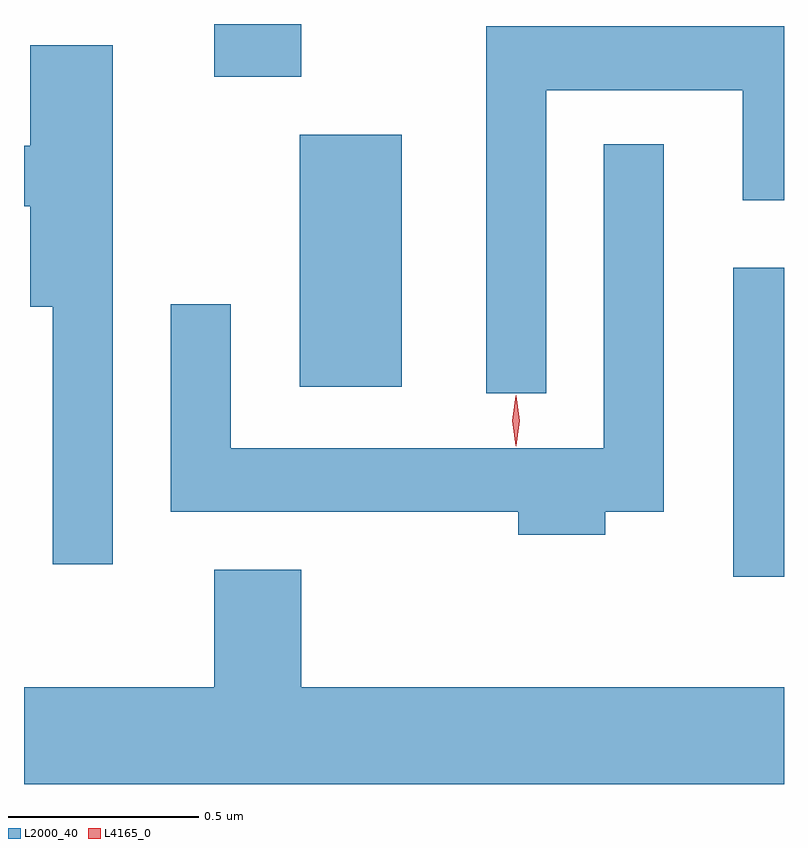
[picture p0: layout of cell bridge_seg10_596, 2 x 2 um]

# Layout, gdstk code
import gdstk
lib = gdstk.Library(unit=1e-6, precision=1e-09)
def R(c, l, rs):  # rectangles x0, y0, x1, y1
    for r in rs: c.add(gdstk.rectangle(r[:2], r[2:], *l))
def P(c, l, *ps):  # polygons
    for p in ps: c.add(gdstk.Polygon(p, *l))
L2000_40 = (2000, 40)
L4165_0 = (4165, 0)

bridge_seg10_596 = lib.new_cell('bridge_seg10_596')
R(bridge_seg10_596, L2000_40, [(768.076,2192.176,768.21,2192.989), (766.936,2192.676,767.204,2193.339), (766.711,2193.491,766.939,2193.63)])
P(bridge_seg10_596, L2000_40, [(767.584,2193.456),(768.101,2193.456),(768.101,2193.166),(768.21,2193.166),(768.21,2193.624),(767.426,2193.624),(767.426,2192.658),(767.584,2192.658)],
  [(766.444,2193.574),(766.226,2193.574),(766.226,2193.309),(766.21,2193.309),(766.21,2193.151),(766.226,2193.151),(766.226,2192.886),(766.286,2192.886),(766.286,2192.208),(766.444,2192.208)],
  [(767.739,2192.346),(767.894,2192.346),(767.894,2193.313),(767.736,2193.313),(767.736,2192.514),(766.754,2192.514),(766.754,2192.893),(766.596,2192.893),(766.596,2192.346),(767.511,2192.346),(767.511,2192.286),(767.739,2192.286)],
  [(768.21,2191.884),(766.939,2191.884),(766.939,2192.194),(766.711,2192.194),(766.711,2191.884),(766.21,2191.884),(766.21,2191.63),(768.21,2191.63)])
P(bridge_seg10_596, L4165_0, [(767.505,2192.519),(767.504,2192.52),(767.495,2192.586),(767.504,2192.652),(767.505,2192.653),(767.505,2192.652),(767.515,2192.586),(767.505,2192.52)])

lib.write_gds('bridge_seg10_596.gds')
